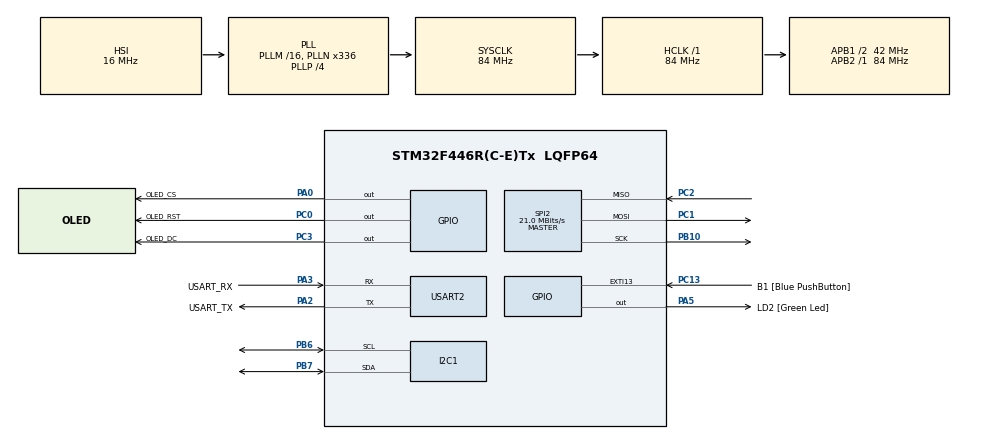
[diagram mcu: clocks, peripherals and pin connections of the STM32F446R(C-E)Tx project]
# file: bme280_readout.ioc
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Mcu.Family=STM32F4
Mcu.Name=STM32F446R(C-E)Tx
Mcu.Package=LQFP64
NVIC.PriorityGroup=NVIC_PRIORITYGROUP_0
PA0-WKUP.GPIO_Label=OLED_CS
PA0-WKUP.Signal=GPIO_Output
PA13.GPIO_Label=TMS
PA13.Mode=Serial_Wire
PA13.Signal=SYS_JTMS-SWDIO
PA14.GPIO_Label=TCK
PA14.Mode=Serial_Wire
PA14.Signal=SYS_JTCK-SWCLK
PA2.GPIO_Label=USART_TX
PA2.Mode=Asynchronous
PA2.Signal=USART2_TX
PA3.GPIO_Label=USART_RX
PA3.Mode=Asynchronous
PA3.Signal=USART2_RX
PA5.GPIO_Label=LD2 [Green Led]
PA5.Signal=GPIO_Output
PB10.Mode=Full_Duplex_Master
PB10.Signal=SPI2_SCK
PB3.GPIO_Label=SWO
PB3.Signal=SYS_JTDO-SWO
PB6.GPIO_Pu=GPIO_PULLUP
PB6.Mode=I2C
PB6.Signal=I2C1_SCL
PB7.GPIO_Pu=GPIO_PULLUP
PB7.Mode=I2C
PB7.Signal=I2C1_SDA
PC0.GPIO_Label=OLED_RST
PC0.Signal=GPIO_Output
PC1.Mode=Full_Duplex_Master
PC1.Signal=SPI2_MOSI
PC13.GPIO_Label=B1 [Blue PushButton]
PC13.GPIO_ModeDefaultEXTI=GPIO_MODE_IT_FALLING
PC13.Signal=GPXTI13
PC14-OSC32_IN.Mode=LSE-External-Oscillator
PC14-OSC32_IN.Signal=RCC_OSC32_IN
PC15-OSC32_OUT.Mode=LSE-External-Oscillator
PC15-OSC32_OUT.Signal=RCC_OSC32_OUT
PC2.Mode=Full_Duplex_Master
PC2.Signal=SPI2_MISO
PC3.GPIO_Label=OLED_DC
PC3.Signal=GPIO_Output
PH0-OSC_IN.Mode=HSE-External-Oscillator
PH0-OSC_IN.Signal=RCC_OSC_IN
PH1-OSC_OUT.Mode=HSE-External-Oscillator
PH1-OSC_OUT.Signal=RCC_OSC_OUT
ProjectManager.HeapSize=0x200
ProjectManager.StackSize=0x400
ProjectManager.TargetToolchain=STM32CubeIDE
RCC.48MHZClocksFreq_Value=84000000
RCC.AHBFreq_Value=84000000
RCC.APB1CLKDivider=RCC_HCLK_DIV2
RCC.APB1Freq_Value=42000000
RCC.APB1TimFreq_Value=84000000
RCC.APB2Freq_Value=84000000
RCC.APB2TimFreq_Value=84000000
RCC.CortexFreq_Value=84000000
RCC.FLatency-AdvancedSettings=FLASH_LATENCY_2
RCC.HCLKFreq_Value=84000000
RCC.HSE_VALUE=8000000
RCC.HSI_VALUE=16000000
RCC.PLLN=336
RCC.PLLP=RCC_PLLP_DIV4
RCC.SYSCLKFreq_VALUE=84000000
RCC.SYSCLKSource=RCC_SYSCLKSOURCE_PLLCLK
RCC.USBFreq_Value=168000000
RCC.VCOOutputFreq_Value=336000000
SPI2.CalculateBaudRate=21.0 MBits/s
SPI2.Direction=SPI_DIRECTION_2LINES
SPI2.Mode=SPI_MODE_MASTER
SPI2.VirtualType=VM_MASTER
USART2.VirtualMode=VM_ASYNC
board=NUCLEO-F446RE

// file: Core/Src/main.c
/* USER CODE BEGIN Header */
/**
  ******************************************************************************
  * @file           : main.c
  * @brief          : Main program body
  ******************************************************************************
  * @attention
  *
  * Copyright (c) 2026 STMicroelectronics.
  * All rights reserved.
  *
  * This software is licensed under terms that can be found in the LICENSE file
  * in the root directory of this software component.
  * If no LICENSE file comes with this software, it is provided AS-IS.
  *
  ******************************************************************************
  */
/* USER CODE END Header */
#include "main.h"

/* USER CODE BEGIN Includes */
#include "bme280.h"
#include "graphics.h"
#include "ssd1306.h"
#include <stdio.h>
#include <string.h>

/* USER CODE END Includes */

I2C_HandleTypeDef hi2c1;

SPI_HandleTypeDef hspi2;

UART_HandleTypeDef huart2;

void SystemClock_Config(void);
static void MX_GPIO_Init(void);
static void MX_I2C1_Init(void);
static void MX_USART2_UART_Init(void);
static void MX_SPI2_Init(void);

/* USER CODE BEGIN 0 */
bme280_t sensor1;
char temp[25];
char pres[25];
char hum[25];
char message[100];
uint32_t current_time = 0;
uint32_t last_sent_time = 0;
uint32_t interval = 1000;
uint8_t temp_whole;
uint8_t temp_frac;

ssd1306_spi_config_t display1_config;
ssd1306_spi_t display1;
/* USER CODE END 0 */

int main(void)
{

  /* USER CODE BEGIN 1 */
	display1_config.handle = &hspi2;
	display1_config.cs_pin = OLED_CS_Pin;
	display1_config.cs_port = OLED_CS_GPIO_Port;
	display1_config.dc_pin = OLED_DC_Pin;
	display1_config.dc_port = OLED_DC_GPIO_Port;
	display1_config.rst_pin = OLED_RST_Pin;
	display1_config.rst_port = OLED_RST_GPIO_Port;
  /* USER CODE END 1 */

  /* MCU Configuration--------------------------------------------------------*/

  /* Reset of all peripherals, Initializes the Flash interface and the Systick. */
  HAL_Init();

  /* Configure the system clock */
  SystemClock_Config();

  /* Initialize all configured peripherals */
  MX_GPIO_Init();
  MX_I2C1_Init();
  MX_USART2_UART_Init();
  MX_SPI2_Init();
  /* USER CODE BEGIN 2 */
  HAL_StatusTypeDef bme280_state = bme280_init(&sensor1, &hi2c1, 0x76);
  ssd1306_init(&display1, &display1_config);

  if (bme280_state == HAL_OK){
	  draw_string(&display1, 31, 21, "Sensor Init");
	  draw_string(&display1, 43, 34, "Success");
	  ssd1306_update(&display1);
  }
  else{
	  volatile uint8_t sensor_fail = 1;
	  draw_string(&display1, 10, 19, "Sensor Init Failed");
	  draw_string(&display1, 22, 37, "Restart System");
	  ssd1306_update(&display1);
	  while (sensor_fail){
		  // show error message indefinitely
	  }
  }
  /* USER CODE END 2 */

  /* Infinite loop */
  while (1)
  {

    /* USER CODE BEGIN 3 */
	  current_time = HAL_GetTick();

	  bme280_read_values(&sensor1);

	  temp_whole = sensor1.bme280_data.temperature_centi_c / 100;
	  temp_frac = sensor1.bme280_data.temperature_centi_c % 100;

	  snprintf(temp, sizeof(temp),
			  "T: %ld.%02ld C",
			  temp_whole,
			  temp_frac);

	  snprintf(pres, sizeof(pres),
			  "P: %lu hPa",
			  sensor1.bme280_data.pressure_hpa);

	  snprintf(hum, sizeof(hum),
			  "H: %u %%",
			  (uint8_t)sensor1.bme280_data.humidity_percent);

	  snprintf(message, sizeof(message),
	  			  "%s \r\n %s \r\n %s \r\n\r\n",
	  			  temp, pres, hum);

	  if (current_time - last_sent_time >= interval){
	  	  HAL_UART_Transmit(
	 						&huart2,
							(uint8_t*)message,
							strlen(message),
							5000);
	  	  ssd1306_clear_buffer(&display1);
		  draw_string(&display1, 35, 15, temp);
		  draw_string(&display1, 35, 30, pres);
		  draw_string(&display1, 35, 45, hum);
		  ssd1306_update(&display1);
	  	  last_sent_time = current_time;
	  }
  }
  /* USER CODE END 3 */
}

void SystemClock_Config(void)
{
  RCC_OscInitTypeDef RCC_OscInitStruct = {0};
  RCC_ClkInitTypeDef RCC_ClkInitStruct = {0};

  /** Configure the main internal regulator output voltage
  */
  __HAL_RCC_PWR_CLK_ENABLE();
  __HAL_PWR_VOLTAGESCALING_CONFIG(PWR_REGULATOR_VOLTAGE_SCALE3);

  /** Initializes the RCC Oscillators according to the specified parameters
  * in the RCC_OscInitTypeDef structure.
  */
  RCC_OscInitStruct.OscillatorType = RCC_OSCILLATORTYPE_HSI;
  RCC_OscInitStruct.HSIState = RCC_HSI_ON;
  RCC_OscInitStruct.HSICalibrationValue = RCC_HSICALIBRATION_DEFAULT;
  RCC_OscInitStruct.PLL.PLLState = RCC_PLL_ON;
  RCC_OscInitStruct.PLL.PLLSource = RCC_PLLSOURCE_HSI;
  RCC_OscInitStruct.PLL.PLLM = 16;
  RCC_OscInitStruct.PLL.PLLN = 336;
  RCC_OscInitStruct.PLL.PLLP = RCC_PLLP_DIV4;
  RCC_OscInitStruct.PLL.PLLQ = 2;
  RCC_OscInitStruct.PLL.PLLR = 2;
  if (HAL_RCC_OscConfig(&RCC_OscInitStruct) != HAL_OK)
  {
    Error_Handler();
  }

  /** Initializes the CPU, AHB and APB buses clocks
  */
  RCC_ClkInitStruct.ClockType = RCC_CLOCKTYPE_HCLK|RCC_CLOCKTYPE_SYSCLK
                              |RCC_CLOCKTYPE_PCLK1|RCC_CLOCKTYPE_PCLK2;
  RCC_ClkInitStruct.SYSCLKSource = RCC_SYSCLKSOURCE_PLLCLK;
  RCC_ClkInitStruct.AHBCLKDivider = RCC_SYSCLK_DIV1;
  RCC_ClkInitStruct.APB1CLKDivider = RCC_HCLK_DIV2;
  RCC_ClkInitStruct.APB2CLKDivider = RCC_HCLK_DIV1;

  if (HAL_RCC_ClockConfig(&RCC_ClkInitStruct, FLASH_LATENCY_2) != HAL_OK)
  {
    Error_Handler();
  }
}

static void MX_I2C1_Init(void)
{

  hi2c1.Instance = I2C1;
  hi2c1.Init.ClockSpeed = 100000;
  hi2c1.Init.DutyCycle = I2C_DUTYCYCLE_2;
  hi2c1.Init.OwnAddress1 = 0;
  hi2c1.Init.AddressingMode = I2C_ADDRESSINGMODE_7BIT;
  hi2c1.Init.DualAddressMode = I2C_DUALADDRESS_DISABLE;
  hi2c1.Init.OwnAddress2 = 0;
  hi2c1.Init.GeneralCallMode = I2C_GENERALCALL_DISABLE;
  hi2c1.Init.NoStretchMode = I2C_NOSTRETCH_DISABLE;
  if (HAL_I2C_Init(&hi2c1) != HAL_OK)
  {
    Error_Handler();
  }

}

static void MX_SPI2_Init(void)
{

  /* SPI2 parameter configuration*/
  hspi2.Instance = SPI2;
  hspi2.Init.Mode = SPI_MODE_MASTER;
  hspi2.Init.Direction = SPI_DIRECTION_2LINES;
  hspi2.Init.DataSize = SPI_DATASIZE_8BIT;
  hspi2.Init.CLKPolarity = SPI_POLARITY_LOW;
  hspi2.Init.CLKPhase = SPI_PHASE_1EDGE;
  hspi2.Init.NSS = SPI_NSS_SOFT;
  hspi2.Init.BaudRatePrescaler = SPI_BAUDRATEPRESCALER_2;
  hspi2.Init.FirstBit = SPI_FIRSTBIT_MSB;
  hspi2.Init.TIMode = SPI_TIMODE_DISABLE;
  hspi2.Init.CRCCalculation = SPI_CRCCALCULATION_DISABLE;
  hspi2.Init.CRCPolynomial = 10;
  if (HAL_SPI_Init(&hspi2) != HAL_OK)
  {
    Error_Handler();
  }

}

static void MX_USART2_UART_Init(void)
{

  huart2.Instance = USART2;
  huart2.Init.BaudRate = 115200;
  huart2.Init.WordLength = UART_WORDLENGTH_8B;
  huart2.Init.StopBits = UART_STOPBITS_1;
  huart2.Init.Parity = UART_PARITY_NONE;
  huart2.Init.Mode = UART_MODE_TX_RX;
  huart2.Init.HwFlowCtl = UART_HWCONTROL_NONE;
  huart2.Init.OverSampling = UART_OVERSAMPLING_16;
  if (HAL_UART_Init(&huart2) != HAL_OK)
  {
    Error_Handler();
  }

}

static void MX_GPIO_Init(void)
{
  GPIO_InitTypeDef GPIO_InitStruct = {0};

  /* GPIO Ports Clock Enable */
  __HAL_RCC_GPIOC_CLK_ENABLE();
  __HAL_RCC_GPIOH_CLK_ENABLE();
  __HAL_RCC_GPIOA_CLK_ENABLE();
  __HAL_RCC_GPIOB_CLK_ENABLE();

  /*Configure GPIO pin Output Level */
  HAL_GPIO_WritePin(GPIOC, OLED_RST_Pin|OLED_DC_Pin, GPIO_PIN_RESET);

  /*Configure GPIO pin Output Level */
  HAL_GPIO_WritePin(GPIOA, OLED_CS_Pin|LD2_Pin, GPIO_PIN_RESET);

  /*Configure GPIO pin : B1_Pin */
  GPIO_InitStruct.Pin = B1_Pin;
  GPIO_InitStruct.Mode = GPIO_MODE_IT_FALLING;
  GPIO_InitStruct.Pull = GPIO_NOPULL;
  HAL_GPIO_Init(B1_GPIO_Port, &GPIO_InitStruct);

  /*Configure GPIO pins : OLED_RST_Pin OLED_DC_Pin */
  GPIO_InitStruct.Pin = OLED_RST_Pin|OLED_DC_Pin;
  GPIO_InitStruct.Mode = GPIO_MODE_OUTPUT_PP;
  GPIO_InitStruct.Pull = GPIO_NOPULL;
  GPIO_InitStruct.Speed = GPIO_SPEED_FREQ_LOW;
  HAL_GPIO_Init(GPIOC, &GPIO_InitStruct);

  /*Configure GPIO pins : OLED_CS_Pin LD2_Pin */
  GPIO_InitStruct.Pin = OLED_CS_Pin|LD2_Pin;
  GPIO_InitStruct.Mode = GPIO_MODE_OUTPUT_PP;
  GPIO_InitStruct.Pull = GPIO_NOPULL;
  GPIO_InitStruct.Speed = GPIO_SPEED_FREQ_LOW;
  HAL_GPIO_Init(GPIOA, &GPIO_InitStruct);

}

void Error_Handler(void)
{
  __disable_irq();
  while (1)
  {
  }
}
